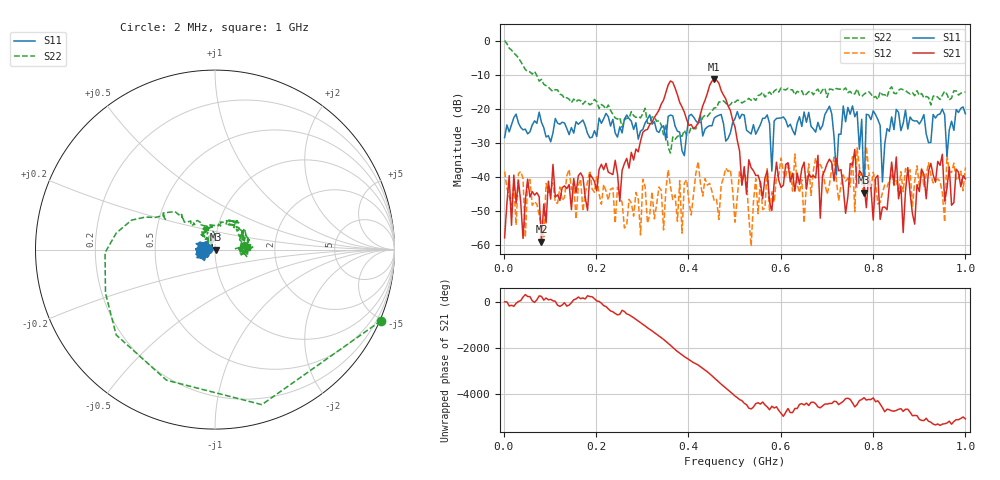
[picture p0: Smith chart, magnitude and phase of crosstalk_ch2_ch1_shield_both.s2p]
!Keysight Technologies N9923A: A.12.45
!Date: Friday, 10 October 2025 03:07:50
!Timezone: (UTC+08:00) Kuala Lumpur, Singapore
!Model: N9923A
!Serial: MY61181427
!GPS Latitude:
!GPS Longitude:
!GPS TimeStamp: 0001-01-01 00:00:00Z
!GPS Seconds Since Last Read: 0
!CHECKSUM:2079033066
!Correction: S11(ON U?)S21(ON U?)S12(ON U?)S22(ON U?)
!S2P File: Measurements:S11,S21,S12,S22:
# Hz S DB R 50
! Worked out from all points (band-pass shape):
!   201 points, 2 MHz to 1 GHz, reference 50 ohm
!   highest |S21| = -11.34 dB at 456.1 MHz (marker M1); lowest = -58.9 dB at 81.84 MHz (marker M2)
!   |S21| within 3 dB of the highest: 353.2 MHz to 372.4 MHz (19.19 MHz wide, 5.29 % of centre); 443.5 MHz to 470.4 MHz (26.91 MHz wide, 5.89 % of centre)
!   lowest |S11| = -44.6 dB at 780.4 MHz (marker M3), VSWR 1.01, Z = 50.6 - j0.0925 ohm
!   |S11| at or under -10 dB: start of sweep to end of sweep
!   |S22| runs from -33.0 to 0.1 dB; largest |S21 - S12| = 0.27
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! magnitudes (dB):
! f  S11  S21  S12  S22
! 2 MHz  -28.4  -57.8  -38.4  0.1
! 21.96 MHz  -22.6  -39.4  -42.0  -3.7
! 81.84 MHz  -23.9  -58.9  -54.4  -11.3
! 106.8 MHz  -27.0  -36.3  -41.7  -14.9
! 171.7 MHz  -23.3  -40.0  -50.0  -18.6
! 251.5 MHz  -25.3  -47.1  -45.8  -22.5
! 336.3 MHz  -26.9  -20.4  -43.0  -23.4
! 456.1 MHz  -22.7  -11.3  -47.0  -19.7
! 501 MHz  -22.9  -25.3  -53.2  -18.1
! 580.8 MHz  -38.2  -49.8  -44.3  -15.9
! 670.7 MHz  -25.9  -39.6  -38.2  -15.9
! 705.6 MHz  -19.2  -34.7  -42.1  -14.2
! 720.6 MHz  -39.4  -34.5  -40.9  -14.0
! 740.5 MHz  -23.8  -50.6  -41.2  -13.9
! 755.5 MHz  -19.1  -36.5  -34.0  -15.8
! 775.5 MHz  -23.1  -39.0  -42.0  -16.4
! 780.4 MHz  -44.6  -41.9  -45.2  -15.7
! 785.4 MHz  -21.6  -49.0  -31.1  -15.2
! 820.4 MHz  -41.4  -48.9  -44.5  -15.9
! 835.3 MHz  -26.6  -42.3  -40.9  -14.3
! 955.1 MHz  -21.8  -47.0  -53.2  -14.8
! 1 GHz  -21.4  -40.5  -37.2  -15.0
